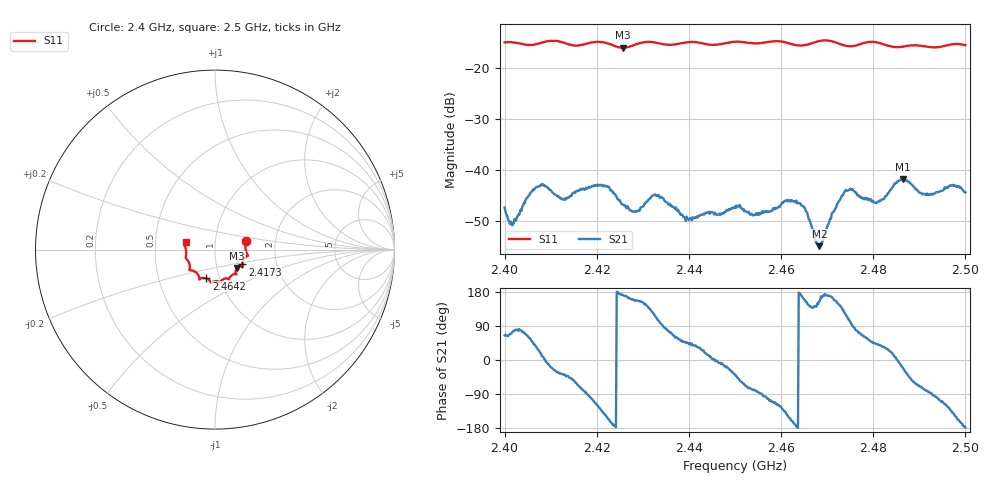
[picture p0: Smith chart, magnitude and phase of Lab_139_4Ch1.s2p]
# Hz S RI R 50
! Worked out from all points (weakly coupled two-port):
!   601 points, 2.4 GHz to 2.5 GHz, reference 50 ohm
!   highest |S21| = -41.71 dB at 2.4865 GHz (marker M1); lowest = -54.9 dB at 2.4683 GHz (marker M2)
!   lowest |S11| = -15.9 dB at 2.4257 GHz (marker M3), VSWR 1.38, Z = 62.4 - j13.1 ohm
!   |S11| at or under -10 dB: start of sweep to end of sweep
!   S12 and S22 are empty: the file has one direction only
!   S11 on the Smith chart (normalised r, x): 2.4 GHz: 1.41, +0.14; 2.4173 GHz: 1.34, -0.23; 2.4642 GHz: 0.86, -0.29; 2.5 GHz: 0.72, +0.06
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2.4e9  0.1734 0.0494  0.00182 0.00391  0 0  0 0
2.4015e9  0.1756 0.0434  0.00105 0.00289  0 0  0 0
2.407167e9  0.1743 -0.0128  0.006 0.00331  0 0  0 0
2.412667e9  0.1759 -0.0389  0.00409 -0.00314  0 0  0 0
2.416667e9  0.1525 -0.0749  0.00169 -0.00619  0 0  0 0
2.417333e9  0.152 -0.0824  0.000789 -0.00637  0 0  0 0
2.422167e9  0.1504 -0.0943  -0.00598 -0.00345  0 0  0 0
2.425667e9  0.1224 -0.1024  -0.00455 0.000689  0 0  0 0
2.428833e9  0.1156 -0.1305  -0.00366 0.00154  0 0  0 0
2.433333e9  0.1126 -0.1366  -0.00151 0.00553  0 0  0 0
2.439667e9  0.0801 -0.1621  0.00234 0.00235  0 0  0 0
2.45e9  0.0295 -0.1808  0.00335 -0.00263  0 0  0 0
2.454167e9  0.0088 -0.1759  0.000738 -0.00357  0 0  0 0
2.464167e9  -0.0481 -0.1609  -0.0047 0.000597  0 0  0 0
2.466667e9  -0.0761 -0.1595  -0.00207 0.00187  0 0  0 0
2.468333e9  -0.0859 -0.165  -0.00162 0.000773  0 0  0 0
2.474e9  -0.0976 -0.1358  -0.00328 0.0055  0 0  0 0
2.480333e9  -0.1427 -0.1126  0.00344 0.00336  0 0  0 0
2.483333e9  -0.1405 -0.0898  0.00544 0.00256  0 0  0 0
2.4865e9  -0.1529 -0.0594  0.00759 -0.00312  0 0  0 0
2.491e9  -0.1617 -0.0348  0.00128 -0.00572  0 0  0 0
2.5e9  -0.1639 0.0418  -0.00606 -0.000176  0 0  0 0
